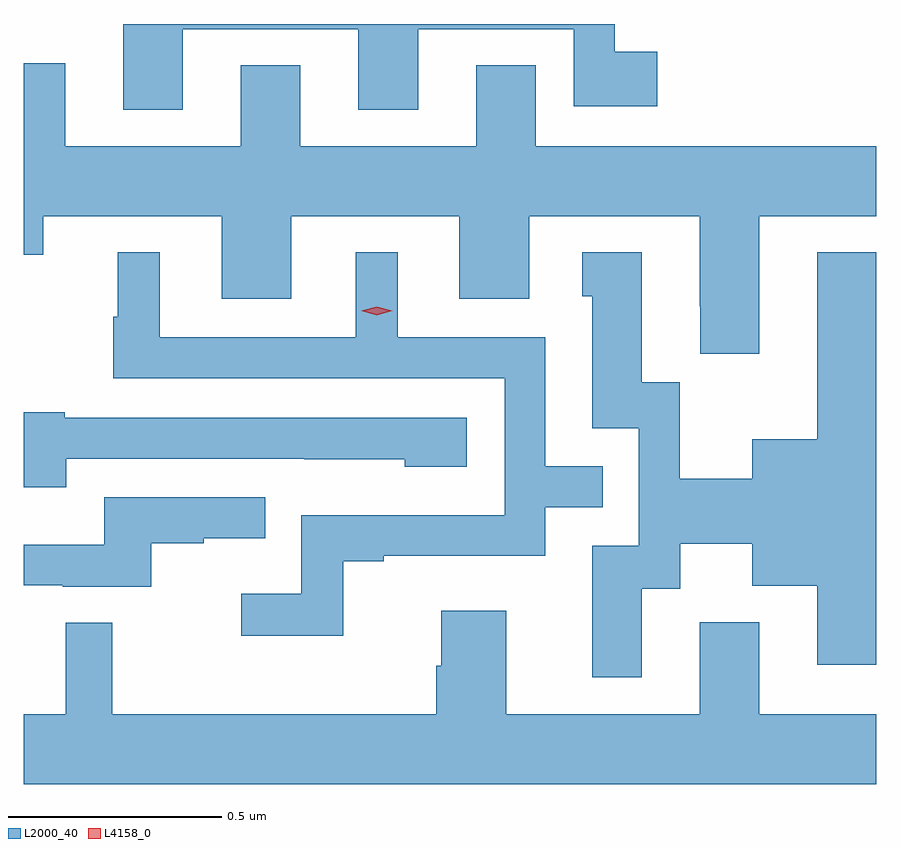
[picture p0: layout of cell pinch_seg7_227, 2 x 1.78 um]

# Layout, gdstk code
import gdstk
lib = gdstk.Library(unit=1e-6, precision=1e-09)
def P(c, l, *ps):  # polygons
    for p in ps: c.add(gdstk.Polygon(p, *l))
L2000_40 = (2000, 40)
L4158_0 = (4158, 0)

pinch_seg7_227 = lib.new_cell('pinch_seg7_227')
P(pinch_seg7_227, L2000_40, [(642.862,1037.019),(643.274,1037.019),(643.274,1036.83),(643.414,1036.83),(643.414,1037.019),(643.779,1037.019),(643.779,1036.838),(643.975,1036.838),(643.975,1036.966),(643.875,1036.966),(643.875,1037.031),(642.722,1037.031),(642.722,1036.83),(642.862,1036.83)],
  [(644.215,1036.58),(644.489,1036.58),(644.489,1036.744),(643.69,1036.744),(643.69,1036.934),(643.55,1036.934),(643.55,1036.744),(643.138,1036.744),(643.138,1036.934),(642.998,1036.934),(642.998,1036.744),(642.586,1036.744),(642.586,1036.939),(642.489,1036.939),(642.489,1036.49),(642.535,1036.49),(642.535,1036.58),(642.953,1036.58),(642.953,1036.386),(643.117,1036.386),(643.117,1036.58),(643.511,1036.58),(643.511,1036.386),(643.675,1036.386),(643.675,1036.58),(644.075,1036.58),(644.075,1036.369),(644.076,1036.369),(644.076,1036.257),(644.215,1036.257)],
  [(643.239,1035.771),(643.333,1035.771),(643.333,1035.783),(643.713,1035.783),(643.713,1035.897),(643.847,1035.897),(643.847,1035.993),(643.713,1035.993),(643.713,1036.296),(643.366,1036.296),(643.366,1036.495),(643.268,1036.495),(643.268,1036.296),(642.808,1036.296),(642.808,1036.495),(642.71,1036.495),(642.71,1036.344),(642.699,1036.344),(642.699,1036.2),(643.617,1036.2),(643.617,1035.879),(643.14,1035.879),(643.14,1035.694),(642.999,1035.694),(642.999,1035.596),(643.239,1035.596)],
  [(643.939,1035.706),(644.029,1035.706),(644.029,1035.812),(644.198,1035.812),(644.198,1035.713),(644.351,1035.713),(644.351,1035.528),(644.489,1035.528),(644.489,1036.495),(644.351,1036.495),(644.351,1036.057),(644.198,1036.057),(644.198,1035.964),(644.028,1035.964),(644.028,1036.191),(643.939,1036.191),(643.939,1036.495),(643.799,1036.495),(643.799,1036.392),(643.823,1036.392),(643.823,1036.083),(643.932,1036.083),(643.932,1035.807),(643.823,1035.807),(643.823,1035.498),(643.939,1035.498)],
  [(642.589,1036.011),(643.147,1036.011),(643.147,1036.01),(643.383,1036.01),(643.383,1035.992),(643.528,1035.992),(643.528,1036.107),(642.585,1036.107),(642.585,1036.12),(642.489,1036.12),(642.489,1035.944),(642.589,1035.944)],
  [(642.788,1035.813),(642.911,1035.813),(642.911,1035.824),(643.055,1035.824),(643.055,1035.921),(642.678,1035.921),(642.678,1035.809),(642.489,1035.809),(642.489,1035.714),(642.58,1035.714),(642.58,1035.711),(642.788,1035.711)],
  [(644.489,1035.412),(644.215,1035.412),(644.215,1035.628),(644.075,1035.628),(644.075,1035.412),(643.621,1035.412),(643.621,1035.655),(643.469,1035.655),(643.469,1035.525),(643.457,1035.525),(643.457,1035.412),(642.697,1035.412),(642.697,1035.626),(642.588,1035.626),(642.588,1035.412),(642.489,1035.412),(642.489,1035.248),(644.489,1035.248)])
P(pinch_seg7_227, L4158_0, [(643.317,1036.348),(643.281,1036.358),(643.281,1036.358),(643.281,1036.358),(643.317,1036.368),(643.353,1036.358),(643.353,1036.358),(643.353,1036.358)])

lib.write_gds('pinch_seg7_227.gds')
